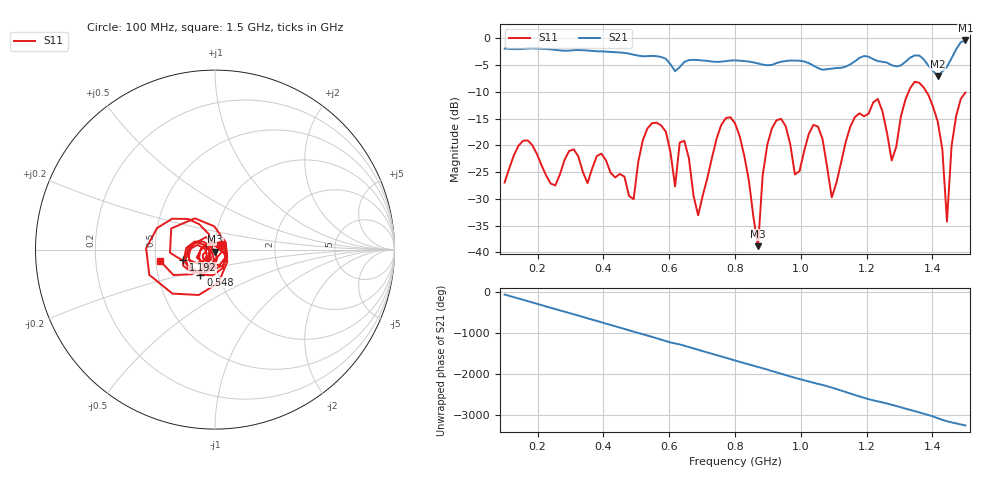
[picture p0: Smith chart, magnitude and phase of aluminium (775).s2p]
! NanoVNA-App
! Date: 2025-09-25 15:01:19
! Start: 100MHz Stop: 1,5GHz Points: 101
! S-Parameter data: F S11 S21 S12 S22
# Hz S RI R 50
!  Frequency  S11_Real  S11_Imag  S21_Real  S21_Imag  S12_Real  S12_Imag  S22_Real  S22_Imag
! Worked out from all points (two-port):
!   101 points, 100 MHz to 1.5 GHz, reference 50 ohm
!   highest |S21| = -0.41 dB at 1.5 GHz (marker M1); lowest = -7.1 dB at 1.416 GHz (marker M2)
!   |S21| within 3 dB of the highest: start of sweep to 567.9 MHz; 1.461 GHz to end of sweep (the widest 2 of 4)
!   lowest |S11| = -38.8 dB at 870 MHz (marker M3), VSWR 1.02, Z = 50.1 - j1.14 ohm
!   |S11| at or under -10 dB: start of sweep to 1.328 GHz; 1.382 GHz to end of sweep
!   S12 and S22 are empty: the file has one direction only
!   S11 on the Smith chart (normalised r, x): 100 MHz: 1.07, +0.06; 548 MHz: 0.82, -0.23; 1.192 GHz: 0.69, -0.08; 1.5 GHz: 0.53, -0.08
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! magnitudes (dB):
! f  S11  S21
! 100 MHz  -27.0  -1.9
! 338 MHz  -25.0  -2.2
! 492 MHz  -30.1  -3.1
! 548 MHz  -15.9  -3.3
! 576 MHz  -16.3  -3.5
! 618 MHz  -27.7  -6.1
! 646 MHz  -19.2  -4.4
! 688 MHz  -33.1  -4.1
! 800 MHz  -15.9  -4.1
! 870 MHz  -38.8  -4.7
! 912 MHz  -16.9  -5.0
! 982 MHz  -25.4  -4.2
! 1.038 GHz  -16.2  -5.1
! 1.094 GHz  -29.7  -5.7
! 1.192 GHz  -14.6  -3.3
! 1.234 GHz  -11.3  -4.3
! 1.276 GHz  -22.8  -5.0
! 1.346 GHz  -8.1  -3.2
! 1.416 GHz  -15.6  -7.1
! 1.444 GHz  -34.3  -5.3
! 1.458 GHz  -20.1  -3.7
! 1.5 GHz  -10.2  -0.4
